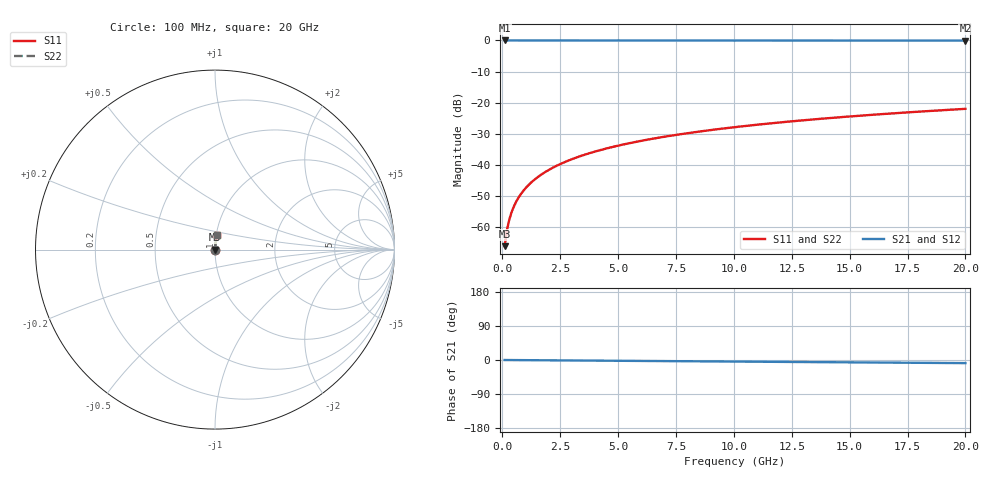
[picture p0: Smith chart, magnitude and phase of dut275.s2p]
! Touchstone file exported from HFSS 2026.1.0
!  File:  C:/ffzhzh/LocalFiles/Ansys_Project_Files/temp_train_TSV_275_1782993391_45328.aedt
!  Generated:  07:58:24 PM Jul  2, 2026
!  Design:  TSV
!  Project:  temp_train_TSV_275_1782993391_45328
! Variables:
!  h_bsmrdl = 2um
!  h_ox = 20um
!  h_rdl = 5um
!  h_sub = 59.92um
!  h_tmrdl = 5um
!  h_tsv = 59.92um
!  h_via = 3um
!  l_bsmrdl = 300um
!  l_sub = 411.36um
!  l_tmrdl = 200um
!  m_sub = 200um
!  pitch = 56.58um
!  r_tsv = 5.68um
!  s_tmrdl = 10um
!  w_bsmrdl = 18um
!  w_sub = 500um
!  w_tmrdl = 12um
!  x_tsv_center1 = 206um
!  x_tsv_center2 = 524um
!  x_tsv_center3 = 736um
!  x_tsv_center4 = 1054um
!  x_tsv_center5 = 1266um
!  x_tsv_center6 = 1584um
# GHz S MA R 50.000000
! Terminal data exported
! Port[1] = TSV1_1_T1
! Port[2] = TSV1_1_T2
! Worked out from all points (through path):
!   200 points, 100 MHz to 20 GHz, reference 50 ohm
!   highest |S21| = 0.00 dB at 100 MHz (marker M1); lowest = 0.0 dB at 20 GHz (marker M2)
!   group delay of S21, straight-line fit = 1.14 ps
!   lowest |S11| = -66.0 dB at 100 MHz (marker M3), VSWR 1.00, Z = 50 + j0.0436 ohm
!   |S11| at or under -10 dB: start of sweep to end of sweep
!   |S22| runs from -66.0 to -21.9 dB; largest |S21 - S12| = 2.1e-15
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0.1  0.0005009 60.5  0.9998 -0.0  0.9998 -0.0  0.0005009 60.5
! Gamma 0 0 0 0
! Port Impedance 50 0 50 0
0.2  0.0009067 73.6  0.9997 -0.1  0.9997 -0.1  0.0009067 73.6
0.3  0.001328 78.3  0.9997 -0.1  0.9997 -0.1  0.001328 78.3
0.4  0.001751 80.6  0.9997 -0.2  0.9997 -0.2  0.001751 80.6
0.5  0.002171 81.9  0.9997 -0.2  0.9997 -0.2  0.002171 81.9
0.6  0.00259 82.8  0.9997 -0.3  0.9997 -0.3  0.00259 82.8
0.7  0.003006 83.4  0.9997 -0.3  0.9997 -0.3  0.003006 83.4
0.8  0.00342 83.9  0.9997 -0.3  0.9997 -0.3  0.00342 83.9
1  0.004245 84.6  0.9996 -0.4  0.9996 -0.4  0.004245 84.6
1.4  0.005889 85.4  0.9996 -0.6  0.9996 -0.6  0.005889 85.4
1.7  0.007119 85.7  0.9995 -0.7  0.9995 -0.7  0.007119 85.7
2  0.008347 85.9  0.9995 -0.8  0.9995 -0.8  0.008347 85.9
2.7  0.01121 86.1  0.9994 -1.1  0.9994 -1.1  0.01121 86.1
3.5  0.01446 86.1  0.9993 -1.5  0.9993 -1.5  0.01446 86.1
4.2  0.01729 86.0  0.9992 -1.8  0.9992 -1.8  0.01729 86.0
5  0.02052 85.8  0.999 -2.1  0.999 -2.1  0.02052 85.8
6.8  0.02773 85.4  0.9987 -2.8  0.9987 -2.8  0.02773 85.4
8.3  0.03372 84.9  0.9985 -3.4  0.9985 -3.4  0.03372 84.9
10.1  0.04089 84.3  0.9981 -4.2  0.9981 -4.2  0.04089 84.3
13.4  0.05398 83.2  0.9973 -5.5  0.9973 -5.5  0.05399 83.2
16.7  0.067 82.0  0.9964 -6.9  0.9964 -6.9  0.067 82.0
20  0.07992 80.7  0.9953 -8.2  0.9953 -8.2  0.07992 80.7
